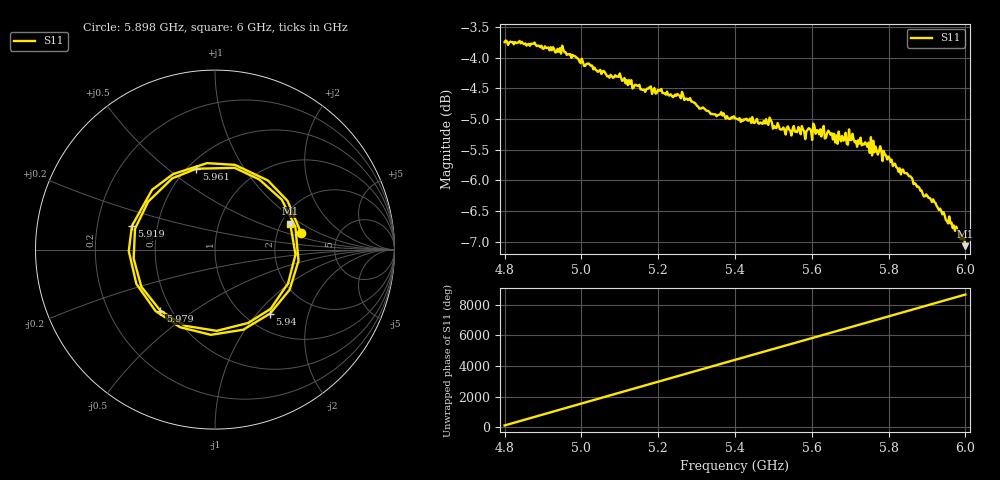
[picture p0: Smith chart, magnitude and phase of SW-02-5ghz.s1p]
! NanoVNA-App
! Date: 2026-05-22 18:57:51
! Start: 4.8GHz Stop: 6GHz Points: 401
! S-Parameter data: F S11
# Hz S RI R 50
!  Frequency  S11_Real  S11_Imag
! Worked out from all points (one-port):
!   401 points, 4.8 GHz to 6 GHz, reference 50 ohm
!   lowest |S11| = -7.1 dB at 6 GHz (marker M1), VSWR 2.59, Z = 112 + j40.1 ohm
!   |S11| at or under -10 dB: nowhere
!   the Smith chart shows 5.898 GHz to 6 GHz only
!   S11 on the Smith chart (normalised r, x): 5.898 GHz: 2.72, +0.67; 5.919 GHz: 0.36, +0.12; 5.94 GHz: 1.28, -1.17; 5.961 GHz: 0.55, +0.63; 5.979 GHz: 0.44, -0.38; 6 GHz: 2.24, +0.80
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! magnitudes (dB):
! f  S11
! 4.8 GHz  -3.7
! 4.95 GHz  -3.8
! 5.067 GHz  -4.3
! 5.1 GHz  -4.3
! 5.16 GHz  -4.5
! 5.175 GHz  -4.5
! 5.25 GHz  -4.6
! 5.34 GHz  -4.9
! 5.4 GHz  -5.0
! 5.466 GHz  -5.1
! 5.487 GHz  -5.1
! 5.526 GHz  -5.1
! 5.55 GHz  -5.2
! 5.61 GHz  -5.2
! 5.646 GHz  -5.2
! 5.661 GHz  -5.4
! 5.7 GHz  -5.3
! 5.718 GHz  -5.5
! 5.76 GHz  -5.4
! 5.793 GHz  -5.6
! 5.826 GHz  -5.9
! 5.85 GHz  -5.9
! 5.898 GHz  -6.2
! 5.919 GHz  -6.4
! 5.94 GHz  -6.6
! 5.961 GHz  -6.7
! 5.979 GHz  -6.8
! 6 GHz  -7.1
